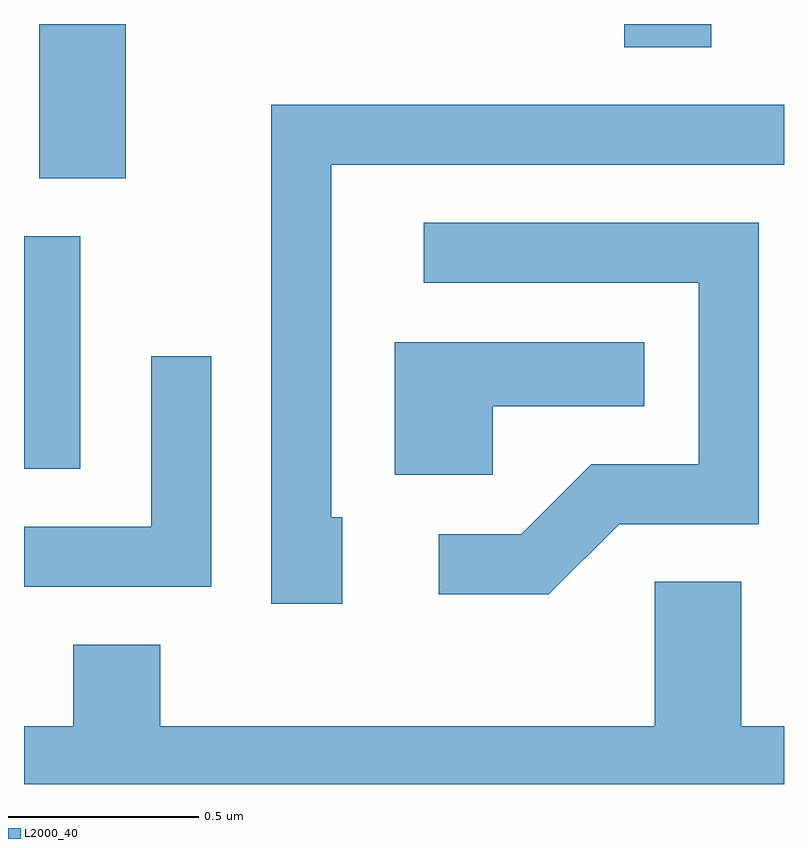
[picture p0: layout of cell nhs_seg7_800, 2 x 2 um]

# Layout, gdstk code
import gdstk
lib = gdstk.Library(unit=1e-6, precision=1e-09)
def R(c, l, rs):  # rectangles x0, y0, x1, y1
    for r in rs: c.add(gdstk.rectangle(r[:2], r[2:], *l))
def P(c, l, *ps):  # polygons
    for p in ps: c.add(gdstk.Polygon(p, *l))
L2000_40 = (2000, 40)

nhs_seg7_800 = lib.new_cell('nhs_seg7_800')
R(nhs_seg7_800, L2000_40, [(190.611,1784.081,190.759,1784.694), (190.651,1784.846,190.879,1785.252), (192.191,1785.191,192.419,1785.252)])
P(nhs_seg7_800, L2000_40, [(191.449,1783.954),(191.419,1783.954),(191.419,1784.881),(192.611,1784.881),(192.611,1785.039),(191.261,1785.039),(191.261,1783.726),(191.449,1783.726)],
  [(192.177,1783.936),(192.544,1783.936),(192.544,1784.729),(191.663,1784.729),(191.663,1784.571),(192.386,1784.571),(192.386,1784.094),(192.104,1784.094),(191.919,1783.909),(191.703,1783.909),(191.703,1783.751),(191.992,1783.751)],
  [(191.844,1784.246),(192.243,1784.246),(192.243,1784.414),(191.586,1784.414),(191.586,1784.066),(191.844,1784.066)],
  [(191.104,1784.378),(190.946,1784.378),(190.946,1783.929),(190.611,1783.929),(190.611,1783.771),(191.104,1783.771)],
  [(192.611,1783.404),(192.499,1783.404),(192.499,1783.784),(192.271,1783.784),(192.271,1783.404),(190.969,1783.404),(190.969,1783.619),(190.741,1783.619),(190.741,1783.404),(190.611,1783.404),(190.611,1783.252),(192.611,1783.252)])

lib.write_gds('nhs_seg7_800.gds')
